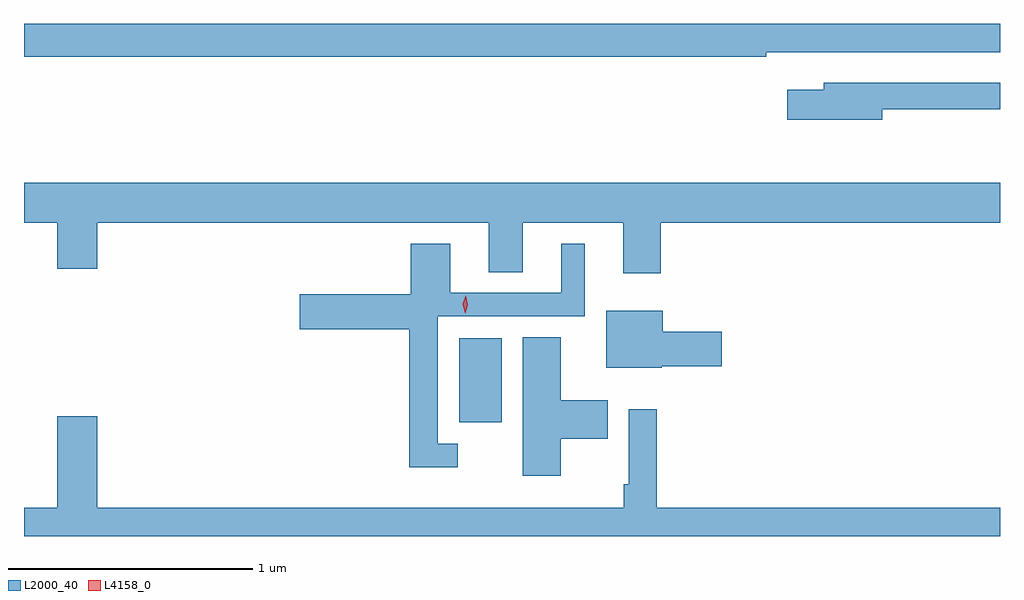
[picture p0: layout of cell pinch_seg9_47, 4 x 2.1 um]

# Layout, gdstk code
import gdstk
lib = gdstk.Library(unit=1e-6, precision=1e-09)
def R(c, l, rs):  # rectangles x0, y0, x1, y1
    for r in rs: c.add(gdstk.rectangle(r[:2], r[2:], *l))
def P(c, l, *ps):  # polygons
    for p in ps: c.add(gdstk.Polygon(p, *l))
L2000_40 = (2000, 40)
L4158_0 = (4158, 0)

pinch_seg9_47 = lib.new_cell('pinch_seg9_47')
R(pinch_seg9_47, L2000_40, [(1005.815,1164.968,1005.988,1165.312)])
P(pinch_seg9_47, L2000_40, [(1007.072,1166.484),(1008.031,1166.484),(1008.031,1166.6),(1004.031,1166.6),(1004.031,1166.464),(1007.072,1166.464)],
  [(1007.548,1166.25),(1008.031,1166.25),(1008.031,1166.358),(1007.309,1166.358),(1007.309,1166.329),(1007.16,1166.329),(1007.16,1166.207),(1007.548,1166.207)],
  [(1006.64,1165.784),(1008.031,1165.784),(1008.031,1165.948),(1004.031,1165.948),(1004.031,1165.784),(1004.168,1165.784),(1004.168,1165.596),(1004.332,1165.596),(1004.332,1165.784),(1005.935,1165.784),(1005.935,1165.582),(1006.075,1165.582),(1006.075,1165.784),(1006.487,1165.784),(1006.487,1165.578),(1006.64,1165.578)],
  [(1005.808,1164.879),(1005.726,1164.879),(1005.726,1165.401),(1006.33,1165.401),(1006.33,1165.699),(1006.232,1165.699),(1006.232,1165.497),(1005.778,1165.497),(1005.778,1165.699),(1005.617,1165.699),(1005.617,1165.491),(1005.162,1165.491),(1005.162,1165.349),(1005.61,1165.349),(1005.61,1164.782),(1005.808,1164.782)],
  [(1006.644,1165.196),(1006.891,1165.196),(1006.891,1165.338),(1006.648,1165.338),(1006.648,1165.423),(1006.418,1165.423),(1006.418,1165.19),(1006.644,1165.19)],
  [(1006.231,1164.899),(1006.424,1164.899),(1006.424,1165.057),(1006.231,1165.057),(1006.231,1165.316),(1006.076,1165.316),(1006.076,1164.747),(1006.231,1164.747)],
  [(1008.031,1164.616),(1006.625,1164.616),(1006.625,1165.021),(1006.509,1165.021),(1006.509,1164.712),(1006.489,1164.712),(1006.489,1164.616),(1004.332,1164.616),(1004.332,1164.991),(1004.168,1164.991),(1004.168,1164.616),(1004.031,1164.616),(1004.031,1164.5),(1008.031,1164.5)])
P(pinch_seg9_47, L4158_0, [(1005.839,1165.413),(1005.839,1165.414),(1005.83,1165.45),(1005.842,1165.485),(1005.842,1165.485),(1005.842,1165.485),(1005.85,1165.449),(1005.839,1165.414)])

lib.write_gds('pinch_seg9_47.gds')
